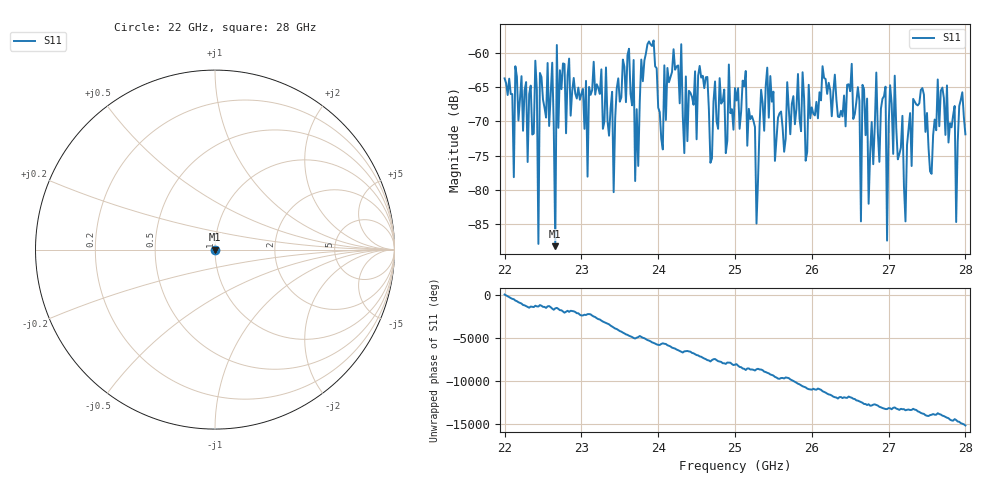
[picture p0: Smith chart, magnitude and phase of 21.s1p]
#  HZ  S  RI  R  50.00
! Rohde & Schwarz ZVA40 4Ports - Version 3.90 - 1145.1110k42 SN: 100403
! Date: 2023-10-04 09:33:04
! Measurement: S12
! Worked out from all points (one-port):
!   301 points, 22 GHz to 28 GHz, reference 50 ohm
!   lowest |S11| = -88.3 dB at 22.66 GHz (marker M1), VSWR 1.00, Z = 50 - j0.00185 ohm
!   |S11| at or under -10 dB: start of sweep to end of sweep
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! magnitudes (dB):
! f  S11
! 22 GHz  -63.7
! 22.12 GHz  -78.2
! 22.14 GHz  -61.9
! 22.3 GHz  -75.9
! 22.4 GHz  -61.1
! 22.44 GHz  -87.9
! 22.46 GHz  -62.9
! 22.62 GHz  -61.4
! 22.66 GHz  -88.3
! 22.68 GHz  -58.8
! 22.76 GHz  -61.5
! 23.08 GHz  -78.1
! 23.16 GHz  -61.3
! 23.42 GHz  -80.4
! 23.5 GHz  -67.1
! 24.26 GHz  -61.8
! 25 GHz  -65.1
! 25.28 GHz  -85.0
! 25.42 GHz  -62.1
! 25.76 GHz  -66.3
! 26.5 GHz  -65.6
! 26.64 GHz  -84.6
! 26.66 GHz  -64.6
! 26.74 GHz  -82.1
! 26.84 GHz  -62.8
! 26.98 GHz  -87.5
! 27.26 GHz  -71.0
! 28 GHz  -71.9
